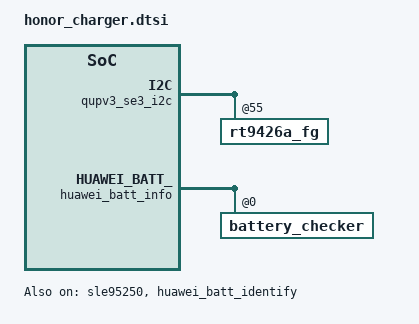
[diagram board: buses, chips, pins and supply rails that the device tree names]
&qupv3_se3_i2c {
	rt9426_battery@55{
		status = "disabled";
	};

	rt9426a_fg@55 {
		status = "ok";
	};
};

&sle95250 {
	status = "ok";
};

&huawei_batt_identify {
	status = "ok";
};

&huawei_batt_info {
	status = "ok";
	shield_ct_sign = <1>;
	battery_checker@0 {
		matchable = <&sle95250>;
		status = "ok";
	};
};
